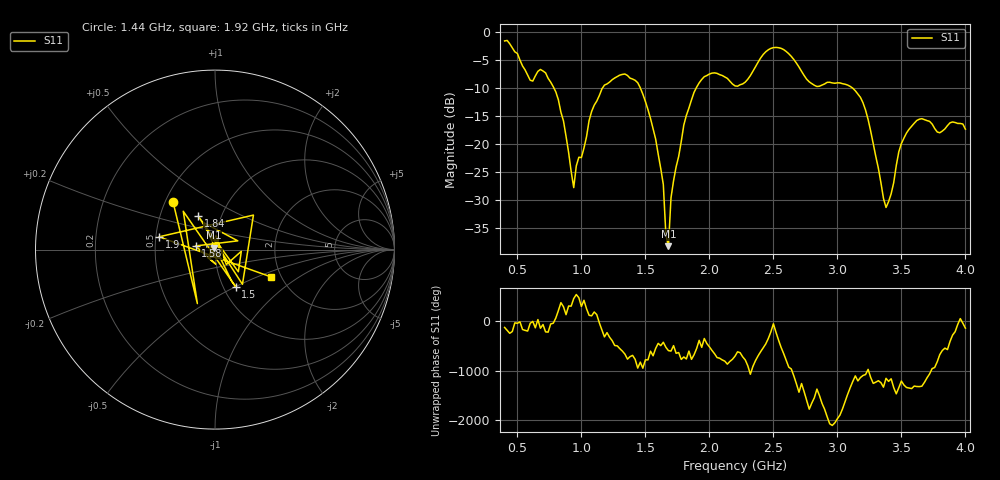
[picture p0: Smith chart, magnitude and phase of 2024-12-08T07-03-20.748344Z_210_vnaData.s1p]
!Created with skrf (http://scikit-rf.org).
# Hz S RI R 50.0
!freq ReS11 ImS11
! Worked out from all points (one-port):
!   181 points, 400 MHz to 4 GHz, reference 50 ohm
!   lowest |S11| = -38.3 dB at 1.68 GHz (marker M1), VSWR 1.02, Z = 49.3 + j0.973 ohm
!   |S11| at or under -10 dB: 784.3 MHz to 1.166 GHz (381.9 MHz wide, 39.2 % of centre); 1.46 GHz to 1.898 GHz (437.8 MHz wide, 26.1 % of centre); 3.116 GHz to end of sweep
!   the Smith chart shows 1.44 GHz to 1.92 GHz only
!   S11 on the Smith chart (normalised r, x): 1.44 GHz: 0.55, +0.33; 1.5 GHz: 1.14, -0.51; 1.58 GHz: 0.80, +0.03; 1.84 GHz: 0.78, +0.30; 1.9 GHz: 0.52, +0.08; 1.92 GHz: 1.78, -0.62
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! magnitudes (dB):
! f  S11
! 400 MHz  -1.6
! 600 MHz  -8.7
! 720 MHz  -7.3
! 860 MHz  -15.9
! 940 MHz  -27.8
! 1.08 GHz  -14.2
! 1.3 GHz  -7.7
! 1.44 GHz  -9.1
! 1.5 GHz  -12.5
! 1.58 GHz  -19.1
! 1.64 GHz  -27.3
! 1.66 GHz  -36.3
! 1.68 GHz  -38.3
! 1.7 GHz  -29.6
! 1.76 GHz  -22.3
! 1.84 GHz  -13.6
! 1.9 GHz  -9.9
! 1.92 GHz  -9.1
! 2.2 GHz  -9.7
! 2.48 GHz  -3.0
! 2.66 GHz  -5.0
! 2.82 GHz  -9.6
! 3.1 GHz  -9.8
! 3.22 GHz  -14.0
! 3.38 GHz  -31.4
! 3.48 GHz  -21.4
! 3.56 GHz  -17.4
! 4 GHz  -17.4
